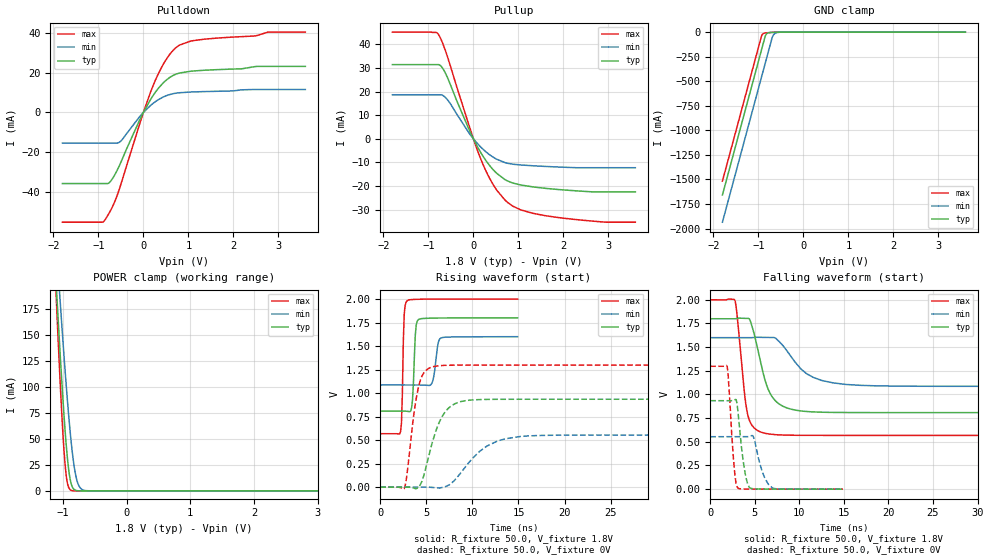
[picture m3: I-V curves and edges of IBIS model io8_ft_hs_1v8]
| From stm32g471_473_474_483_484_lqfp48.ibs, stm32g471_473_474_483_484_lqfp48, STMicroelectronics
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[Model]   io8_ft_hs_1v8
Model_type I/O
Polarity   Non-Inverting
Enable   Active-Low
| CAP_THRESHOLD on pad IOFT is "UDTCAPC" :
| Rising=30.0% of vddiom   Falling=70.0% of vddiom
| C_comp min and max val. don't necessarily correlate with the min and max pvt
| but are the smallest and greatest pad capacitance found.
| var   typ   min   max
C_comp   2.04479pF  2.03950pF  2.10336pF
|C_comp_pullup   1.14454pF  1.14106pF  1.14615pF
|C_comp_pulldown   900.24492fF  898.44517fF  957.20503fF
Vinl = 480.0mV
Vinh = 1.4V
Vmeas = 900.0mV   | Reference voltage for timing measurements
Cref  = 50.0pF   | Timing specification test load capacitance value
Rref  = 100.0MOhm   | Timing specification test load resistance value
Vref  = 900.0mV   | Timing specification test load voltage
[Model Spec]
| TIME_THRESHOLD on pin ZIV12 is "CMOS" :
| Rising=50.0% of vdd   Falling=50.0% of vdd
Vinl 728.70000mV 655.70000mV 817.70000mV
Vinh 1.06430V 949.30000mV 1.16330V
| variable   typ   min   max
[Temperature Range] 25.0 140.0 -40.0
| variable   typ   min   max
[Voltage Range] 1.8V 1.6V 2.0V
| variable   typ   min   max
[POWER Clamp Reference] 1.8V 1.6V 2.0V
| variable   typ   min   max
[GND Clamp Reference] 0V 0V 0V
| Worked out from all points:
|   slope of the pulldown table from 0 to 0.27 V, typ, clamps not added: 26.3 ohm
|   slope of the pullup table from 0 to 0.27 V, typ, clamps not added: 30 ohm
|   GND clamp passes 1 mA (typ) near -0.61 V on its own axis
|   POWER clamp passes 1 mA (typ) near -0.81 V on its own axis
|   rising waveform, R_fixture 50.0, V_fixture 1.8V: 20-80 % time 252ps typ, 395ps min, 203ps max; typ from 0.809 V to 1.8 V
|   falling waveform, R_fixture 50.0, V_fixture 1.8V: 20-80 % time 1.72ns typ, 3.07ns min, 924ps max; typ from 1.8 V to 0.809 V
|   rising waveform, R_fixture 50.0, V_fixture 0V: 20-80 % time 1.8ns typ, 3.31ns min, 1.04ns max; typ from 0 V to 0.935 V
|   falling waveform, R_fixture 50.0, V_fixture 0V: 20-80 % time 697ps typ, 1.02ns min, 537ps max; typ from 0.935 V to 0 V
[POWER Clamp]
-1.8V     1.053A     943.1mA    1.262A
-1.11V    202.2mA    242.3mA    190.9mA
-1.09V    180mA      223.6mA    163.4mA
-1.05V    136.9mA    187mA      110.9mA
-980mV    68.91mA    126.1mA    35.23mA
-940mV    37.57mA    94.11mA    10.65mA
-880mV    8.969mA    52.17mA    807.4uA
-830mV    1.697mA    25.82mA    75.79uA
-790mV    394.2uA    12.22mA    11.25uA
-740mV    61.25uA    3.879mA    1.034uA
-660mV    3.073uA    483.4uA    22.7nA
3.6V      0A         0A         0A
[GND Clamp]
-1.8V     -1.658A    -1.935A    -1.517A
-930mV    -179mA     -456mA     -38.91mA
-900mV    -128mA     -405mA     -17.65mA
-850mV    -44.09mA   -320mA     -9.519mA
-830mV    -24.74mA   -286mA     -8.302mA
-790mV    -9.695mA   -218mA     -6.49mA
-700mV    -2.938mA   -65mA      -3.294mA
-670mV    -2.157mA   -31.85mA   -2.435mA
-640mV    -1.545mA   -16.21mA   -1.699mA
-570mV    -571.9uA   -3.807mA   -536.5uA
-420mV    -14.26uA   -143.3uA   -5.434uA
3.6V      450.9pA    102.5nA    318pA
| variable   typ   min   max
[Pullup Reference] 1.8V 1.6V 2.0V
| variable   typ   min   max
[Pulldown Reference] 0V 0V 0V
[Pullup]
-1.8V     31.43mA    18.65mA    45.21mA
-780mV    31.43mA    18.65mA    44.28mA
-690mV    30.07mA    18.48mA    40.79mA
-580mV    26.09mA    16.61mA    34.95mA
-90mV     3.62mA     2.224mA    5.223mA
180mV     -6.337mA   -3.799mA   -9.336mA
470mV     -13.71mA   -8.14mA    -20.34mA
760mV     -17.88mA   -10.38mA   -26.96mA
1.05V     -19.57mA   -11.08mA   -30.1mA
1.62V     -21.02mA   -11.72mA   -32.63mA
2.94V     -22.49mA   -12.26mA   -35.33mA
3.6V      -22.49mA   -12.26mA   -35.33mA
[Pulldown]
-1.8V     -35.76mA   -15.41mA   -55.17mA
-910mV    -35.76mA   -15.41mA   -55.17mA
-830mV    -35.76mA   -15.41mA   -53.18mA
-710mV    -34mA      -15.41mA   -48.42mA
-520mV    -26.05mA   -14.75mA   -37.5mA
-90mV     -4.145mA   -2.306mA   -6.327mA
230mV     8.974mA    4.797mA    14.24mA
490mV     15.87mA    8.223mA    26.01mA
750mV     19.43mA    9.743mA    33.01mA
1.33V     21.16mA    10.45mA    36.75mA
2.78V     23.13mA    11.52mA    40.36mA
3.6V      23.13mA    11.52mA    40.37mA
[Ramp]
dV/dt_r 560.73579mV/1.79974ns 332.41285mV/3.31026ns 778.77806mV/1.03841ns
dV/dt_f 594.84343mV/1.71507ns 308.29515mV/3.06917ns 859.13203mV/920.74626ps
R_load = 50.0
| Removed startup time: 0s 0s 0s  .
| Removed end time: 14.9ns.
[Rising Waveform]
R_fixture   = 50.0
V_fixture   = 1.8V
V_fixture_min = 1.6V
V_fixture_max = 2.0V
0s        808.6mV    1.086V     568.1mV
2.2ns     808.6mV    1.086V     590.2mV
2.6ns     808.5mV    1.086V     1.84V
2.9ns     806.6mV    1.086V     1.981V
3.4ns     844.9mV    1.086V     1.995V
3.8ns     1.616V     1.086V     1.997V
4.1ns     1.778V     1.086V     1.998V
5.6ns     1.797V     1.105V     2V
6.6ns     1.799V     1.586V     2V
14.9ns    1.8V       1.6V       2V
| Removed startup time: 0s 0s 0s  .
| Removed end time: 39.9ns.
[Falling Waveform]
R_fixture   = 50.0
V_fixture   = 1.8V
V_fixture_min = 1.6V
V_fixture_max = 2.0V
0s        1.8V       1.6V       2V
2.8ns     1.8V       1.6V       1.986V
4.1ns     1.804V     1.6V       834.5mV
4.7ns     1.717V     1.6V       671.5mV
5.7ns     1.318V     1.603V     602.2mV
7.1ns     956.2mV    1.602V     577.2mV
9.8ns     831.1mV    1.311V     568.9mV
11.6ns    815.9mV    1.179V     568.2mV
15.3ns    809.2mV    1.105V     568.1mV
39.9ns    808.6mV    1.086V     568.1mV
| Removed startup time: 0s 0s 0s  .
| Removed end time: 39.9ns.
[Rising Waveform]
R_fixture   = 50.0
V_fixture   = 0V
V_fixture_min = 0V
V_fixture_max = 0V
0s        -16.11uV   -14.81uV   -10.76uV
2.6ns     19.79uV    -240.3nV   -17.11mV
4.1ns     -5.236mV   5.134uV    1.043V
4.7ns     115.7mV    92.38uV    1.211V
5.6ns     459.7mV    -3.08mV    1.277V
7.1ns     807.2mV    6.439mV    1.295V
9.3ns     920.2mV    223.7mV    1.298V
11.6ns    933mV      438mV      1.298V
15.1ns    934.5mV    537.4mV    1.298V
39.9ns    934.6mV    554mV      1.298V
| Removed startup time: 0s 0s 0s  .
| Removed end time: 14.9ns.
[Falling Waveform]
R_fixture   = 50.0
V_fixture   = 0V
V_fixture_min = 0V
V_fixture_max = 0V
0s        934.6mV    554mV      1.298V
1.9ns     934.6mV    554mV      1.298V
2.7ns     940.4mV    554mV      213.2mV
3.1ns     826.3mV    554mV      12.34mV
3.8ns     231.7mV    553.7mV    1.737mV
4.4ns     16.76mV    557.9mV    952uV
4.8ns     4.659mV    560.4mV    682.9uV
5.9ns     1.215mV    169mV      287.7uV
7ns       596.8uV    10.95mV    122.7uV
14.9ns    4.135uV    105.1uV    526.9nV
